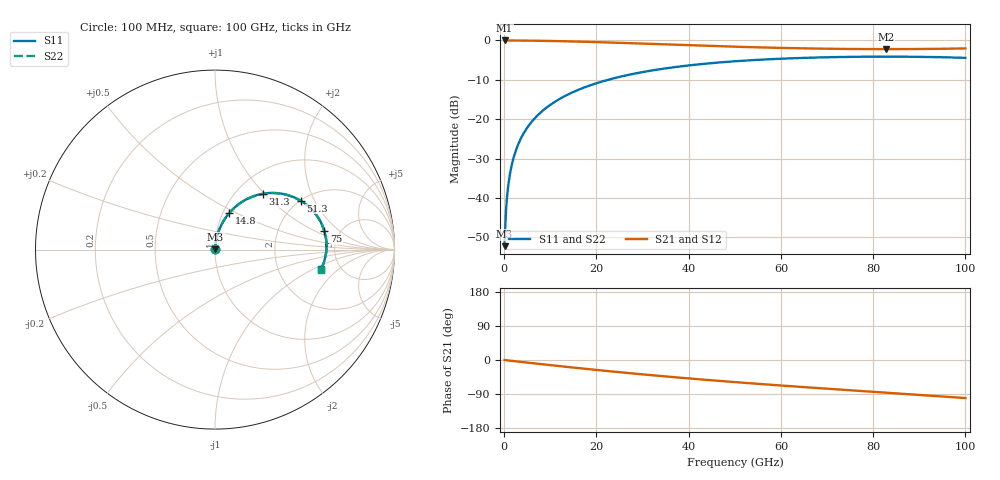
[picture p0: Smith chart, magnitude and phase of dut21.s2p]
! Touchstone file exported from HFSS 2026.1.0
!  File:  C:/ffzhzh/LocalFiles/Ansys_Project_Files/temp_train_RDL_21_1783497831_55944.aedt
!  Generated:  04:04:57 PM Jul  8, 2026
!  Design:  RDL
!  Project:  temp_train_RDL_21_1783497831_55944
! Variables:
!  h_bsmrdl = 2um
!  h_ox = 20um
!  h_rdl = 5um
!  h_sub = 80um
!  h_tmrdl = 3.51um
!  h_tsv = 80um
!  h_via = 3um
!  l_bsmrdl = 300um
!  l_sub = 722.73um
!  l_tmrdl = 322.73um
!  m_sub = 200um
!  pitch = 55.09um
!  r_tsv = 6um
!  s_tmrdl = 10um
!  w_bsmrdl = 18um
!  w_sub = 500um
!  w_tmrdl = 20.72um
!  x_tsv_center1 = 333.09um
!  x_tsv_center2 = 651.09um
!  x_tsv_center3 = 994.54um
!  x_tsv_center4 = 1312.54um
!  x_tsv_center5 = 1655.99um
!  x_tsv_center6 = 1973.99um
# GHz S MA R 50.000000
! Terminal data exported
! Port[1] = TM_RDL1_1_T1
! Port[2] = TM_RDL1_1_T2
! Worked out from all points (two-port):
!   1000 points, 100 MHz to 100 GHz, reference 50 ohm
!   highest |S21| = -0.02 dB at 100 MHz (marker M1); lowest = -2.2 dB at 82.8 GHz (marker M2)
!   |S21| within 3 dB of the highest: start of sweep to end of sweep
!   lowest |S11| = -52.3 dB at 100 MHz (marker M3), VSWR 1.00, Z = 50.2 + j0.169 ohm
!   |S11| at or under -10 dB: start of sweep to 22.56 GHz
!   |S22| runs from -52.3 to -4.1 dB; largest |S21 - S12| = 4.5e-15
!   S11 on the Smith chart (normalised r, x): 100 MHz: 1.00, +0.00; 14.8 GHz: 1.07, +0.46; 31.3 GHz: 1.31, +0.98; 51.3 GHz: 2.01, +1.57; 75 GHz: 3.77, +1.28; 100 GHz: 3.56, -1.21
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0.1  0.002438 43.6  0.9982 -0.1  0.9982 -0.1  0.002438 43.6
! Gamma 0 0 0 0
! Port Impedance 50 0 50 0
0.4  0.006821 72.6  0.998 -0.6  0.998 -0.6  0.006821 72.6
0.8  0.01296 79.4  0.9978 -1.1  0.9978 -1.1  0.01296 79.4
1.3  0.02071 82.0  0.9975 -1.8  0.9975 -1.8  0.02071 82.0
1.8  0.02849 82.8  0.9973 -2.5  0.9973 -2.5  0.0285 82.8
2.3  0.03628 83.0  0.9969 -3.2  0.9969 -3.2  0.03628 83.0
3.6  0.05644 82.2  0.9956 -4.9  0.9956 -4.9  0.05644 82.2
5.5  0.0855 80.2  0.9929 -7.5  0.9929 -7.5  0.0855 80.2
7.9  0.1214 77.3  0.9884 -10.7  0.9884 -10.7  0.1214 77.3
11  0.1662 73.4  0.981 -14.8  0.981 -14.8  0.1662 73.4
14.8  0.2187 68.7  0.9698 -19.7  0.9698 -19.7  0.2187 68.7
16.8  0.2452 66.3  0.9631 -22.2  0.9631 -22.2  0.2452 66.2
23.3  0.3248 58.6  0.9386 -30.2  0.9386 -30.2  0.3248 58.5
31.3  0.4083 49.6  0.905 -39.4  0.905 -39.4  0.4084 49.5
33.4  0.4276 47.3  0.896 -41.7  0.896 -41.7  0.4276 47.2
50.1  0.5435 30.9  0.8312 -58.4  0.8312 -58.4  0.5436 30.7
51.3  0.5496 29.8  0.8272 -59.5  0.8272 -59.5  0.5496 29.6
66.7  0.604 16.5  0.7889 -73.0  0.7889 -73.0  0.6041 16.3
75  0.6178 9.7  0.7783 -79.9  0.7783 -79.9  0.6179 9.5
82.8  0.6219 3.5  0.775 -86.2  0.775 -86.2  0.622 3.2
83.4  0.6218 3.0  0.775 -86.7  0.775 -86.7  0.622 2.7
100  0.6005 -10.4  0.7907 -100.4  0.7907 -100.4  0.6006 -10.8
